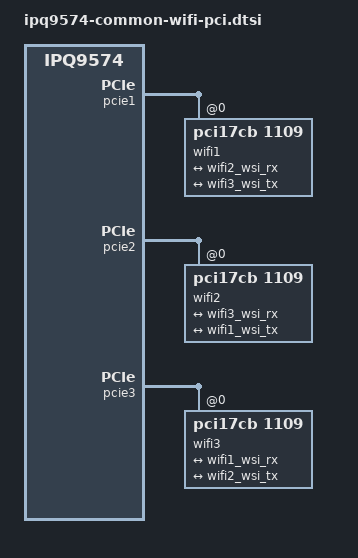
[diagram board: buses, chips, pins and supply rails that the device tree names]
// SPDX-License-Identifier: (GPL-2.0+ OR BSD-3-Clause)

/* Three PCIe radios in the AP-AL02 WSI ring. Board files enable the
 * controllers and provide reset GPIOs, calibration and MACs.
 */

/delete-node/ &q6_region;

&q6v5_wcss {
	status = "disabled";
	/delete-property/ memory-region;
};

&pcie1 {
	pinctrl-0 = <&pcie1_default>;
	pinctrl-names = "default";

	pcie@0,0 {
		device_type = "pci";
		reg = <0x0 0x0 0x0 0x0 0x0>;
		#address-cells = <3>;
		#size-cells = <2>;
		ranges;

		wifi1: wifi@0 {
			compatible = "pci17cb,1109";
			reg = <0x0 0x0 0x0 0x0 0x0>;
			qcom,num-radios = <1>;
			qcom,ath12k-fw-memory-mode = <1>;
			qcom,rx-skb-slab;

			ports {
				#address-cells = <1>;
				#size-cells = <0>;

				port@0 {
					reg = <0>;

					wifi1_wsi_tx: endpoint {
						remote-endpoint = <&wifi2_wsi_rx>;
					};
				};

				port@1 {
					reg = <1>;

					wifi1_wsi_rx: endpoint {
						remote-endpoint = <&wifi3_wsi_tx>;
					};
				};
			};
		};
	};
};

&pcie2 {
	pinctrl-0 = <&pcie2_default>;
	pinctrl-names = "default";

	pcie@0,0 {
		device_type = "pci";
		reg = <0x0 0x0 0x0 0x0 0x0>;
		#address-cells = <3>;
		#size-cells = <2>;
		ranges;

		wifi2: wifi@0 {
			compatible = "pci17cb,1109";
			reg = <0x0 0x0 0x0 0x0 0x0>;
			qcom,wsi-controller;
			qcom,num-radios = <1>;
			qcom,ath12k-fw-memory-mode = <1>;
			qcom,rx-skb-slab;

			ports {
				#address-cells = <1>;
				#size-cells = <0>;

				port@0 {
					reg = <0>;

					wifi2_wsi_tx: endpoint {
						remote-endpoint = <&wifi3_wsi_rx>;
					};
				};

				port@1 {
					reg = <1>;

					wifi2_wsi_rx: endpoint {
						remote-endpoint = <&wifi1_wsi_tx>;
					};
				};
			};
		};
	};
};

&pcie3 {
	pinctrl-0 = <&pcie3_default>;
	pinctrl-names = "default";

	pcie@0,0 {
		device_type = "pci";
		reg = <0x0 0x0 0x0 0x0 0x0>;
		#address-cells = <3>;
		#size-cells = <2>;
		ranges;

		wifi3: wifi@0 {
			compatible = "pci17cb,1109";
			reg = <0x0 0x0 0x0 0x0 0x0>;
			qcom,num-radios = <1>;
			qcom,ath12k-fw-memory-mode = <1>;
			qcom,rx-skb-slab;

			ports {
				#address-cells = <1>;
				#size-cells = <0>;

				port@0 {
					reg = <0>;

					wifi3_wsi_tx: endpoint {
						remote-endpoint = <&wifi1_wsi_rx>;
					};
				};

				port@1 {
					reg = <1>;

					wifi3_wsi_rx: endpoint {
						remote-endpoint = <&wifi2_wsi_tx>;
					};
				};
			};
		};
	};
};
